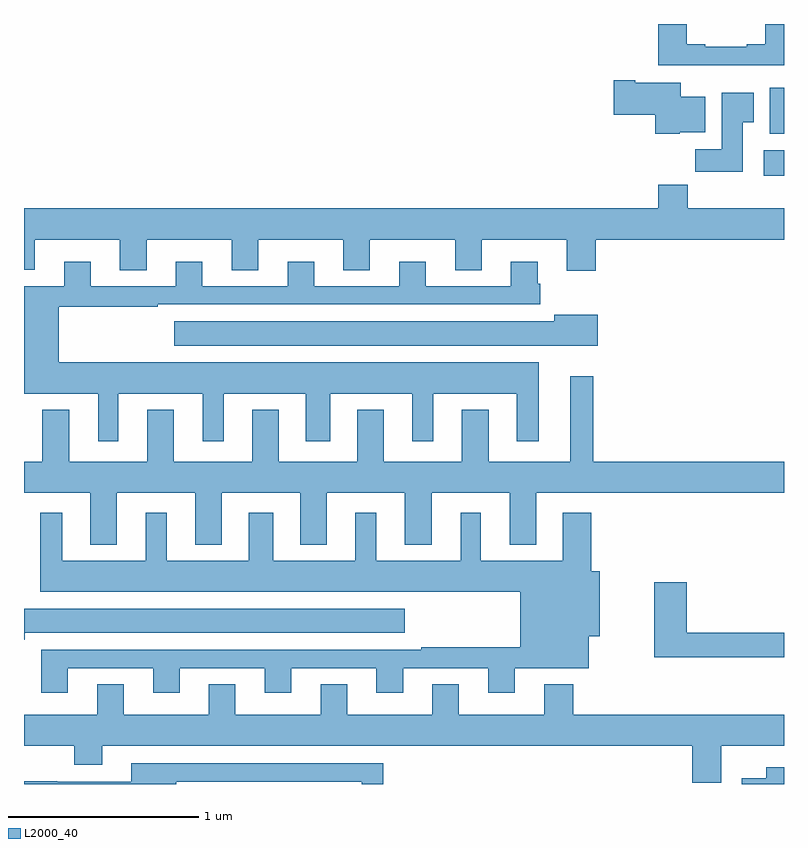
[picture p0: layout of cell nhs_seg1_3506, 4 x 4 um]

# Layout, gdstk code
import gdstk
lib = gdstk.Library(unit=1e-6, precision=1e-09)
def R(c, l, rs):  # rectangles x0, y0, x1, y1
    for r in rs: c.add(gdstk.rectangle(r[:2], r[2:], *l))
def P(c, l, *ps):  # polygons
    for p in ps: c.add(gdstk.Polygon(p, *l))
L2000_40 = (2000, 40)

nhs_seg1_3506 = lib.new_cell('nhs_seg1_3506')
R(nhs_seg1_3506, L2000_40, [(304.893,553.4,305,553.534), (304.925,553.622,305,553.864)])
P(nhs_seg1_3506, L2000_40, [(305,554.199),(304.901,554.199),(304.901,554.092),(304.805,554.092),(304.805,554.079),(304.585,554.079),(304.585,554.092),(304.489,554.092),(304.489,554.199),(304.337,554.199),(304.337,553.982),(305,553.982)],
  [(304.452,553.628),(304.585,553.628),(304.585,553.816),(304.456,553.816),(304.456,553.891),(304.216,553.891),(304.216,553.904),(304.104,553.904),(304.104,553.721),(304.322,553.721),(304.322,553.622),(304.452,553.622)],
  [(304.783,553.681),(304.84,553.681),(304.84,553.837),(304.673,553.837),(304.673,553.54),(304.534,553.54),(304.534,553.422),(304.783,553.422)],
  [(304.01,553.064),(305,553.064),(305,553.228),(304.493,553.228),(304.493,553.352),(304.337,553.352),(304.337,553.228),(301,553.228),(301,552.905),(301.057,552.905),(301.057,553.064),(301.505,553.064),(301.505,552.904),(301.645,552.904),(301.645,553.064),(302.093,553.064),(302.093,552.904),(302.233,552.904),(302.233,553.064),(302.681,553.064),(302.681,552.904),(302.821,552.904),(302.821,553.064),(303.269,553.064),(303.269,552.904),(303.409,552.904),(303.409,553.064),(303.857,553.064),(303.857,552.9),(304.01,552.9)],
  [(301.495,552.254),(301.94,552.254),(301.94,552.003),(302.05,552.003),(302.05,552.254),(302.483,552.254),(302.483,552.003),(302.611,552.003),(302.611,552.254),(303.044,552.254),(303.044,552.003),(303.154,552.003),(303.154,552.254),(303.593,552.254),(303.593,552.003),(303.709,552.003),(303.709,552.418),(301.183,552.418),(301.183,552.711),(301.703,552.711),(301.703,552.723),(303.716,552.723),(303.716,552.831),(303.703,552.831),(303.703,552.949),(303.563,552.949),(303.563,552.819),(303.115,552.819),(303.115,552.949),(302.975,552.949),(302.975,552.819),(302.527,552.819),(302.527,552.949),(302.387,552.949),(302.387,552.819),(301.939,552.819),(301.939,552.949),(301.799,552.949),(301.799,552.819),(301.351,552.819),(301.351,552.949),(301.211,552.949),(301.211,552.82),(301,552.82),(301,552.254),(301.391,552.254),(301.391,552.003),(301.495,552.003)],
  [(304.021,552.67),(303.791,552.67),(303.791,552.634),(301.791,552.634),(301.791,552.506),(304.021,552.506)],
  [(301.489,551.732),(301.901,551.732),(301.901,551.459),(302.041,551.459),(302.041,551.732),(302.453,551.732),(302.453,551.459),(302.593,551.459),(302.593,551.732),(303.005,551.732),(303.005,551.459),(303.145,551.459),(303.145,551.732),(303.557,551.732),(303.557,551.459),(303.697,551.459),(303.697,551.732),(305,551.732),(305,551.896),(303.997,551.896),(303.997,552.346),(303.875,552.346),(303.875,551.896),(303.445,551.896),(303.445,552.169),(303.305,552.169),(303.305,551.896),(302.893,551.896),(302.893,552.169),(302.753,552.169),(302.753,551.896),(302.341,551.896),(302.341,552.169),(302.201,552.169),(302.201,551.896),(301.789,551.896),(301.789,552.169),(301.649,552.169),(301.649,551.896),(301.237,551.896),(301.237,552.169),(301.097,552.169),(301.097,551.896),(301,551.896),(301,551.732),(301.349,551.732),(301.349,551.459),(301.489,551.459)],
  [(301.231,550.809),(301.679,550.809),(301.679,550.68),(301.819,550.68),(301.819,550.809),(302.267,550.809),(302.267,550.68),(302.407,550.68),(302.407,550.809),(302.855,550.809),(302.855,550.68),(302.995,550.68),(302.995,550.809),(303.443,550.809),(303.443,550.68),(303.583,550.68),(303.583,550.808),(303.973,550.808),(303.973,550.976),(304.03,550.976),(304.03,551.32),(303.986,551.32),(303.986,551.626),(303.836,551.626),(303.836,551.374),(303.403,551.374),(303.403,551.626),(303.299,551.626),(303.299,551.374),(302.854,551.374),(302.854,551.626),(302.744,551.626),(302.744,551.374),(302.311,551.374),(302.311,551.626),(302.183,551.626),(302.183,551.374),(301.75,551.374),(301.75,551.626),(301.64,551.626),(301.64,551.374),(301.201,551.374),(301.201,551.626),(301.085,551.626),(301.085,551.21),(303.611,551.21),(303.611,550.918),(303.091,550.918),(303.091,550.905),(301.091,550.905),(301.091,550.68),(301.231,550.68)],
  [(305,550.994),(304.487,550.994),(304.487,551.26),(304.316,551.26),(304.316,550.866),(305,550.866)],
  [(301.003,550.994),(303.004,550.994),(303.004,551.122),(301,551.122),(301,550.958),(301.003,550.958)],
  [(304.669,550.4),(305,550.4),(305,550.564),(303.89,550.564),(303.89,550.723),(303.737,550.723),(303.737,550.564),(303.289,550.564),(303.289,550.724),(303.149,550.724),(303.149,550.564),(302.701,550.564),(302.701,550.724),(302.561,550.724),(302.561,550.564),(302.113,550.564),(302.113,550.724),(301.973,550.724),(301.973,550.564),(301.525,550.564),(301.525,550.724),(301.385,550.724),(301.385,550.564),(301,550.564),(301,550.4),(301.264,550.4),(301.264,550.301),(301.411,550.301),(301.411,550.4),(304.517,550.4),(304.517,550.206),(304.669,550.206)],
  [(301.801,550.212),(302.777,550.212),(302.777,550.199),(302.89,550.199),(302.89,550.308),(301.565,550.308),(301.565,550.212),(301.175,550.212),(301.175,550.214),(301,550.214),(301,550.199),(301.801,550.199)],
  [(305,550.288),(304.907,550.288),(304.907,550.228),(304.778,550.228),(304.778,550.199),(305,550.199)])

lib.write_gds('nhs_seg1_3506.gds')
